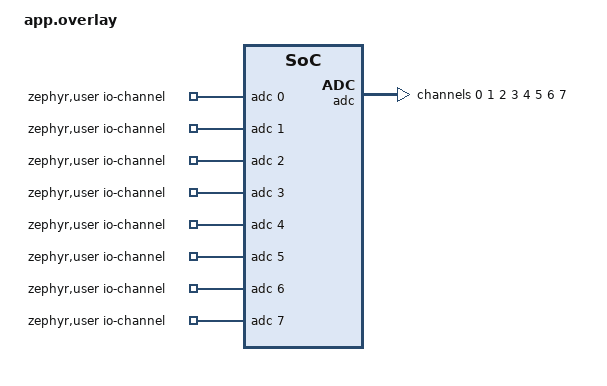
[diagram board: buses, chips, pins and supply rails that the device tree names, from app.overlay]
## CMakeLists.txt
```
# SPDX-License-Identifier: Apache-2.0

cmake_minimum_required(VERSION 3.20.0)

find_package(Zephyr REQUIRED HINTS $ENV{ZEPHYR_BASE})
project(pulse_oximeter)

target_sources(app PRIVATE src/main.c src/heart_rate.c src/i2c_device.c src/MAX30102.c src/spo2_algorithm.c)
```

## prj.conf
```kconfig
CONFIG_I2C=y
CONFIG_I2C_TARGET=y

CONFIG_CBPRINTF_FP_SUPPORT=y
```

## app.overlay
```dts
/ {
	zephyr,user {
		// List all channels for io-channels
		io-channels = <&adc 0>, <&adc 1>, <&adc 2>, <&adc 3>,
		              <&adc 4>, <&adc 5>, <&adc 6>, <&adc 7>;
	};
};

&adc {
	#address-cells = <1>;
	#size-cells = <0>;
	status = "okay";

	// Define ADC channels
	channel@0 {
		reg = <0>;
		zephyr,gain = "ADC_GAIN_1_6";
		zephyr,reference = "ADC_REF_INTERNAL";
		zephyr,acquisition-time = <ADC_ACQ_TIME_DEFAULT>;
		zephyr,input-positive = <NRF_SAADC_AIN0>; /* P0.02 */
		zephyr,resolution = <12>;
	};

	channel@1 {
		reg = <1>;
		zephyr,gain = "ADC_GAIN_1_6";
		zephyr,reference = "ADC_REF_INTERNAL";
		zephyr,acquisition-time = <ADC_ACQ_TIME_DEFAULT>;
		zephyr,input-positive = <NRF_SAADC_AIN1>; /* P0.03 */
		zephyr,resolution = <12>;
	};

	channel@2 {
		reg = <2>;
		zephyr,gain = "ADC_GAIN_1_6";
		zephyr,reference = "ADC_REF_INTERNAL";
		zephyr,acquisition-time = <ADC_ACQ_TIME_DEFAULT>;
		zephyr,input-positive = <NRF_SAADC_AIN2>; /* P0.04 */
		zephyr,resolution = <12>;
	};

	channel@3 {
		reg = <3>;
		zephyr,gain = "ADC_GAIN_1_6";
		zephyr,reference = "ADC_REF_INTERNAL";
		zephyr,acquisition-time = <ADC_ACQ_TIME_DEFAULT>;
		zephyr,input-positive = <NRF_SAADC_AIN3>; /* P0.05 */
		zephyr,resolution = <12>;
	};

	channel@4 {
		reg = <4>;
		zephyr,gain = "ADC_GAIN_1_6";
		zephyr,reference = "ADC_REF_INTERNAL";
		zephyr,acquisition-time = <ADC_ACQ_TIME_DEFAULT>;
		zephyr,input-positive = <NRF_SAADC_AIN4>; /* P0.28 */
		zephyr,resolution = <12>;
	};

	channel@5 {
		reg = <5>;
		zephyr,gain = "ADC_GAIN_1_6";
		zephyr,reference = "ADC_REF_INTERNAL";
		zephyr,acquisition-time = <ADC_ACQ_TIME_DEFAULT>;
		zephyr,input-positive = <NRF_SAADC_AIN5>; /* P0.29 */
		zephyr,resolution = <12>;
	};

	channel@6 {
		reg = <6>;
		zephyr,gain = "ADC_GAIN_1_6";
		zephyr,reference = "ADC_REF_INTERNAL";
		zephyr,acquisition-time = <ADC_ACQ_TIME_DEFAULT>;
		zephyr,input-positive = <NRF_SAADC_AIN6>; /* P0.30 */
		zephyr,resolution = <12>;
	};

	channel@7 {
		reg = <7>;
		zephyr,gain = "ADC_GAIN_1_6";
		zephyr,reference = "ADC_REF_INTERNAL";
		zephyr,acquisition-time = <ADC_ACQ_TIME_DEFAULT>;
		zephyr,input-positive = <NRF_SAADC_AIN7>; /* P0.31 */
		zephyr,resolution = <12>;
	};
};
```

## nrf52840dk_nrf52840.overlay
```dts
// To get started, press Ctrl+Space to bring up the completion menu and view the available nodes.

// You can also use the buttons in the sidebar to perform actions on nodes.
// Actions currently available include:

// * Enabling / disabling the node
// * Adding the bus to a bus
// * Removing the node
// * Connecting ADC channels

// For more help, browse the DeviceTree documentation at https://docs.zephyrproject.org/latest/guides/dts/index.html
// You can also visit the nRF DeviceTree extension documentation at https://docs.nordicsemi.com/bundle/nrf-connect-vscode/page/guides/ncs_configure_app.html#devicetree-support-in-the-extension

/ {
    aliases {
        i2c0 = &i2c0;
    };
};

&i2c0 {
    compatible = "nordic,nrf-twim";
    status = "okay";
    clock-frequency = <I2C_BITRATE_STANDARD>;

    max30102: max30102@57 {
        compatible = "i2c-device";
        reg = <0x57>;
        label = "MAX30102";
    };
};

&i2c1 {
    status = "okay";
};
```

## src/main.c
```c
/*
 * Copyright (c) 2024 Open Pixel Systems
 *
 * SPDX-License-Identifier: Apache-2.0
 */

// TODO: turn the max30102 driver into a separate header file and include it here
// TODO: create a skeleton i2c header file and make the max30102 driver inherit from it

#include <zephyr/kernel.h>
#include <zephyr/sys/printk.h>
#include <zephyr/drivers/i2c.h>
#include <zephyr/drivers/gpio.h>

#include "i2c_device.h"
#include "MAX30102.h"
#include "heart_rate.h"

static const struct i2c_dt_spec dev_max30102 = MAX30102_DT_SPEC;
static const struct gpio_dt_spec led0 = LED0_DT_SPEC;

// static char last_byte;

// #define DATA_BUFFER_SIZE 32
// typedef struct buffer {
// 	uint32_t red[DATA_BUFFER_SIZE];
// 	uint32_t ir[DATA_BUFFER_SIZE];
// 	uint8_t head_ptr;
// 	uint8_t tail_ptr;
// } sensor_struct;

// sensor_struct sensor_data;

// /*
//  * @brief Callback which is called when a write request is received from the master.
//  * @param config Pointer to the target configuration.
//  */
// int sample_target_write_requested_cb(struct i2c_target_config *config)
// {
// 	printk("sample target write requested\n");
// 	return 0;
// }

// /*
//  * @brief Callback which is called when a write is received from the master.
//  * @param config Pointer to the target configuration.
//  * @param val The byte received from the master.
//  */
// int sample_target_write_received_cb(struct i2c_target_config *config, uint8_t val)
// {
// 	printk("sample target write received: 0x%02x\n", val);
// 	last_byte = val;
// 	return 0;
// }

// /*
//  * @brief Callback which is called when a read request is received from the master.
//  * @param config Pointer to the target configuration.
//  * @param val Pointer to the byte to be sent to the master.
//  */
// int sample_target_read_requested_cb(struct i2c_target_config *config, uint8_t *val)
// {
// 	printk("sample target read request: 0x%02x\n", *val);
// 	*val = 0x42;
// 	return 0;
// }

// /*
//  * @brief Callback which is called when a read is processed from the master.
//  * @param config Pointer to the target configuration.
//  * @param val Pointer to the next byte to be sent to the master.
//  */
// int sample_target_read_processed_cb(struct i2c_target_config *config, uint8_t *val)
// {
// 	printk("sample target read processed: 0x%02x\n", *val);
// 	*val = 0x43;
// 	return 0;
// }

// /*
//  * @brief Callback which is called when the master sends a stop condition.
//  * @param config Pointer to the target configuration.
//  */
// int sample_target_stop_cb(struct i2c_target_config *config)
// {
// 	printk("sample target stop callback\n");
// 	return 0;
// }

// static struct i2c_target_callbacks sample_target_callbacks = {
// 	.write_requested = sample_target_write_requested_cb,
// 	.write_received = sample_target_write_received_cb,
// 	.read_requested = sample_target_read_requested_cb,
// 	.read_processed = sample_target_read_processed_cb,
// 	.stop = sample_target_stop_cb,
// };

// int write_byte(uint8_t address, uint8_t data)
// {
// 	int ret;
// 	ret = i2c_reg_write_byte_dt(&dev_i2c0, address, data);
// 	if (ret < 0) {
// 		printk("Failed to write byte %x to register %x\n", data, address);
// 		return -1;
// 	} else {
// 		printk("Wrote byte %2x to register %2x\n", data, address);
// 		return 0;
// 	}
// }

// int read_register(const struct i2c_dt_spec *i2c_dev, uint8_t reg_addr, uint8_t *data) {
// 	int ret = i2c_write_read_dt(i2c_dev, &reg_addr, 1, data, 1);
// 	if (ret < 0) {
// 		printk("Failed to read register %x\n", reg_addr);
// 		return -1;
// 	} else {
// 		printk("Read register %x\n", reg_addr);
// 		return 0;
// 	}
// }

// // Function to read multiple bytes from sequential registers
// int read_registers(const struct i2c_dt_spec *i2c_dev, uint8_t reg_addr, uint8_t *data, size_t len) {
//     int ret = i2c_write_read_dt(i2c_dev, &reg_addr, 1, data, len);
// 	if (ret < 0) {
// 		printk("Failed to read %d registers starting from %x\n", len, reg_addr);
// 		return -1;
// 	} else {
// 		//printk("Read %d registers starting from %x\n", len, reg_addr);
// 		return 0;
// 	}
// }

// typedef enum{
// 	HEART_RATE = 2,
// 	SPO2 = 3,
// 	MULTI_LED = 7
// } MAX30102_mode_t;

// /*
// 	 * @brief Setup the pulse oximeter
// 	 * @param sample_avg The number of samples to average. Must be a multiple of 2 between 1 and 32 - default 4
// 	 * @param fifo_rollover Whether the FIFO should rollover. Must be true or false - default true
// 	 * @param fifo_int_threshold The FIFO interrupt threshold. Must be between 0 and 15 - default 4
// 	 * @param mode The mode of the pulse oximeter. Must be one of HEART_RATE, SPO2, or MULTI_LED - default MULTI_LED
// 	 * @param sample_rate The sample rate of the ADC. Must be one of 50, 100, 200, 400, 800, 1000, 1600, 3200 - default 50
// 	 * @param pulse_width The pulse width of the LED. Must be one of 69, 118, 215, 411 - default 69
// 	 * @param adc_range The range of the ADC. Must be one of 2048, 4096, 8192, 16384 - default 16384
//  */
// void pulse_oximeter_setup(uint8_t sample_avg, bool fifo_rollover, uint8_t fifo_int_threshold, MAX30102_mode_t mode, int sample_rate, int pulse_width, int adc_range)
// {
// 	// TODO: add support for parameters
// 	uint8_t address, data;
// 	if (!i2c_is_ready_dt(&dev_i2c0)) {
// 		printk("I2C bus is not ready\n");
// 	}

// 	// reset the device
// 	if (write_byte(0x09, 0x40) < 0) {
// 		printk("Failed to reset device\n");
// 		exit(-1);
// 	}

// 	// switch(sample_avg){
// 	// 	case 1:
// 	// 		data = 0x00; // 000_x_0000
// 	// 		break;
// 	// }

// 	// // sample avg = 4, rollover disabled, almost full = 17 // 010_0_1111
// 	address = 0x08;
// 	data = 0x0F; // 010_0_1111
// 	write_byte(address, data);

// 	//mode = multi led // 0_0_xxx_111
// 	//mode = sp02 // 0_0_xxx_011
// 	address = 0x09;
// 	data = 0x03; 
// 	write_byte(address, data);

// 	//adc range = 16384, sample rate = 50, pulse width = 69 // x11_000_00
// 	//SP02 ADC = 4096, sample rate = 100, pulse width = 411 // x01_001_11
// 	address = 0x0A;
// 	data = 0x27; 
// 	write_byte(address, data);
	
// 	// set power level to 6.2mA (0x1F)
// 	address = 0x0C;
// 	data = 0x1F;
// 	write_byte(address, data);

// 	address = 0x0D;
// 	data = 0x1F;
// 	write_byte(address, data);

// 	// // multi_led control registers
// 	// address = 0x11; 
// 	// data = 0x07; // x_001_x_010 (RED and IR LED)
// 	// write_byte(address, data);

// 	// address = 0x12;
// 	// data = 0x07; // x_000_x_000 (NO LED)
// 	// write_byte(address, data);

// 	// clear fifo
// 	write_byte(0x04, 0x00);
// 	write_byte(0x05, 0x00);
// 	write_byte(0x06, 0x00);

// }

// int get_data(void)
// {
// 	// uint8_t read_ptr, write_ptr, ovf_ctr;
// 	// read_register(&dev_i2c0, 0x04, &read_ptr);
// 	// read_register(&dev_i2c0, 0x05, &ovf_ctr);
// 	// read_register(&dev_i2c0, 0x06, &write_ptr);

// 	// if (read_ptr == write_ptr) {
// 	// 	printk("FIFO is empty\n");
// 	// 	printk("Read pointer: %d, Write pointer: %d, Overflow counter: %d\n", read_ptr, write_ptr, ovf_ctr);
// 	// 	return 0;
// 	// } else {
// 	// 	printk("FIFO is not empty\n");
// 	// 	printk("Read pointer: %d, Write pointer: %d, Overflow counter: %d\n", read_ptr, write_ptr, ovf_ctr);
// 	// 	int num_samples_to_read = (write_ptr - read_ptr) & 0x1F; // mask to get the lower 5 bits of the difference

// 	// 	// know the number of samples we need to read
// 	// 	int num_bytes_to_read = num_samples_to_read * 6; // 3 bytes for red and 3 bytes for ir for each sample

// 	// 	// prepare to read data from the fifo buffer address many times


// 	// 	uint8_t data[num_bytes_to_read];
// 	// 	read_registers(&dev_i2c0, 0x07, data, num_bytes_to_read);

// 	// 	for (int i = 0; i < num_bytes_to_read; i += 6) {
// 	// 		sensor_data.head_ptr ++;
// 	// 		sensor_data.head_ptr %= DATA_BUFFER_SIZE;
			
// 	// 		sensor_data.red[sensor_data.head_ptr] = ((data[i] << 16) | (data[i + 1] << 8) | data[i + 2]) & 0x3FFFF;
// 	// 		sensor_data.ir[sensor_data.head_ptr] = ((data[i + 3] << 16) | (data[i + 4] << 8) | data[i + 5]) & 0x3FFFF;
// 	// 	}
// 	// 	return num_samples_to_read;
// 	// }

// 	uint8_t data[6];
// 	int ret = read_registers(&dev_i2c0, 0x07, data, 6);
// 	if (ret == 0){
// 		sensor_data.head_ptr ++;
// 		sensor_data.head_ptr %= DATA_BUFFER_SIZE;	
// 		sensor_data.red[sensor_data.head_ptr] = ((data[0] << 16) | (data[1] << 8) | data[2]) & 0x3FFFF;
// 		sensor_data.ir[sensor_data.head_ptr] = ((data[3] << 16) | (data[4] << 8) | data[5]) & 0x3FFFF;
// 	}
// 	return 6;
// }

int main(void)
{
	// struct i2c_target_config target_cfg = {
	// 	.address = 0x60,
	// 	.callbacks = &sample_target_callbacks,
	// };

	printk("i2c custom target sample\n");

	max30102_default_setup(&dev_max30102);

	max30102_read_data_hr(&dev_max30102);

	//max30102_read_data_spo2(&dev_max30102, &led0);

	// const uint8_t RATE_SIZE = 4; //Increase this for more averaging. 4 is good.
	// uint8_t rates[RATE_SIZE]; //Array of heart rates
	// uint8_t rateSpot = 0;
	// long lastBeat = 0; //Time at which the last beat occurred

	// float beatsPerMinute;
	// int beatAvg;

	// while(true){
	// 	if (get_k("No data\n");
	// 	} else {
	// 		long irVal = sensor_data.ir[sensor_data.head_ptr];

	// 		if (checkForBeat(irVal) == true) {
    // 			//We sensed a beat!
    // 			long delta = k_uptime_get() - lastBeat;
    // 			lastBeat = k_uptime_get();
			
    // 			beatsPerMinute = 60 / (delta / 1000.0);
			
    // 			if (beatsPerMinute < 255 && beatsPerMinute > 20) {
    // 			  rates[rateSpot++] = (uint8_t)beatsPerMinute; //Store this reading in the array
    // 			  rateSpot %= RATE_SIZE; //Wrap variable
			
    // 			  //Take average of readings
    // 			  beatAvg = 0;
    // 			  for (uint8_t x = 0 ; x < RATE_SIZE ; x++)
    // 			    beatAvg += rates[x];
    // 			  beatAvg /= RATE_SIZE;
    // 			}
  	// 		}

	// 		printk(">Red:%d,IR:%d,BPM:%f,AvgBPM:%f\n", sensor_data.red[sensor_data.head_ptr], sensor_data.ir[sensor_data.head_ptr], beatsPerMinute, beatAvg);
	// 	}
	// 	k_sleep(K_MSEC(10));
	// }data() == 0){
	// 		print

	return 0;
}
```

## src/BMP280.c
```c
#include <zephyr/device.h>
#include <zephyr/drivers/i2c.h>
#include <zephyr/sys/printk.h>
#include <zephyr/kernel.h>
#include <stdint.h>

// HOW TO CONNECT: (BMP --> Nordic)
// SCK --> Pin 27
// SDI --> Pin 26
// SDO --> GND (for I2C Address 0x76)    *VDO --> VDD (makes I2C address 0x77)*
// CS --> VDD
// 3Vo --> VDD
// GND --> GND


#define I2C_NODE DT_NODELABEL(i2c0)
#define BMP280_ADDR 0x76  // Adjust to 0x77 if SDO pin is high

// BMP280 Register Addresses
#define BMP280_REG_CALIB_START    0x88
#define BMP280_REG_CHIPID         0xD0
#define BMP280_REG_SOFTRESET      0xE0
#define BMP280_REG_CONTROL        0xF4
#define BMP280_REG_CONFIG         0xF5
#define BMP280_REG_PRESSURE_MSB   0xF7
#define BMP280_REG_TEMPERATURE_MSB 0xFA

// Calibration parameters
uint16_t dig_T1;
int16_t dig_T2, dig_T3;
uint16_t dig_P1;
int16_t dig_P2, dig_P3, dig_P4, dig_P5, dig_P6, dig_P7, dig_P8, dig_P9;
int32_t t_fine;

// Function to write a byte to a register
int write_register_BMP(const struct device *i2c_dev, uint8_t dev_addr, uint8_t reg_addr, uint8_t data) {
    uint8_t buffer[2] = {reg_addr, data};
    return i2c_write(i2c_dev, buffer, sizeof(buffer), dev_addr);
}

// Function to read multiple bytes from sequential registers
int read_registers_BMP(const struct device *i2c_dev, uint8_t dev_addr, uint8_t reg_addr, uint8_t *data, size_t len) {
    return i2c_write_read(i2c_dev, dev_addr, &reg_addr, 1, data, len);
}

// Initialize BMP280
void bmp280_init(const struct device *i2c_dev) {
    uint8_t chip_id;

    // Read Chip ID
    if (read_registers_BMP(i2c_dev, BMP280_ADDR, BMP280_REG_CHIPID, &chip_id, 1) != 0 || chip_id != 0x58) {
        printk("Error: BMP280 not detected or invalid Chip ID\n");
        return;
    }
    printk("BMP280 detected. Chip ID: 0x%x\n", chip_id);

    // Reset the sensor
    write_register_BMP(i2c_dev, BMP280_ADDR, BMP280_REG_SOFTRESET, 0xB6);
    k_sleep(K_MSEC(100));  // Allow time for reset

    // Read calibration data
    uint8_t calib_data[24];
    if (read_registers_BMP(i2c_dev, BMP280_ADDR, BMP280_REG_CALIB_START, calib_data, sizeof(calib_data)) != 0) {
        printk("Error: Failed to read calibration data\n");
        return;
    }

    // Parse calibration data
    dig_T1 = (calib_data[1] << 8) | calib_data[0];
    dig_T2 = (calib_data[3] << 8) | calib_data[2];
    dig_T3 = (calib_data[5] << 8) | calib_data[4];
    dig_P1 = (calib_data[7] << 8) | calib_data[6];
    dig_P2 = (calib_data[9] << 8) | calib_data[8];
    dig_P3 = (calib_data[11] << 8) | calib_data[10];
    dig_P4 = (calib_data[13] << 8) | calib_data[12];
    dig_P5 = (calib_data[15] << 8) | calib_data[14];
    dig_P6 = (calib_data[17] << 8) | calib_data[16];
    dig_P7 = (calib_data[19] << 8) | calib_data[18];
    dig_P8 = (calib_data[21] << 8) | calib_data[20];
    dig_P9 = (calib_data[23] << 8) | calib_data[22];

    // Configure sensor: normal mode, oversampling x1 for temp & pressure
    uint8_t ctrl_meas = (0x01 << 5) | (0x01 << 2) | 0x03;
    write_register_BMP(i2c_dev, BMP280_ADDR, BMP280_REG_CONTROL, ctrl_meas);
    write_register_BMP(i2c_dev, BMP280_ADDR, BMP280_REG_CONFIG, 0);  // Default config
}

// Read and process BMP280 data
void read_bmp280_data(const struct device *i2c_dev) {
    uint8_t data[6];

    if (read_registers_BMP(i2c_dev, BMP280_ADDR, BMP280_REG_PRESSURE_MSB, data, sizeof(data)) != 0) {
        printk("Error: Failed to read BMP280 data\n");
        return;
    }

    int32_t adc_T = (data[3] << 12) | (data[4] << 4) | (data[5] >> 4);
    int32_t adc_P = (data[0] << 12) | (data[1] << 4) | (data[2] >> 4);

    // Temperature compensation
    int32_t var1 = ((((adc_T >> 3) - ((int32_t)dig_T1 << 1))) * ((int32_t)dig_T2)) >> 11;
    int32_t var2 = (((((adc_T >> 4) - ((int32_t)dig_T1)) * ((adc_T >> 4) - ((int32_t)dig_T1))) >> 12) * ((int32_t)dig_T3)) >> 14;
    t_fine = var1 + var2;
    float celsius = ((t_fine * 5 + 128) >> 8) / 100.0f;
    float fahrenheit =(celsius *  1.8) + 32.0;

    // Pressure compensation
    int64_t var1_p = ((int64_t)t_fine) - 128000;
    int64_t var2_p = var1_p * var1_p * (int64_t)dig_P6 + ((var1_p * (int64_t)dig_P5) << 17) + (((int64_t)dig_P4) << 35);
    var1_p = (((var1_p * var1_p * (int64_t)dig_P3) >> 8) + ((var1_p * (int64_t)dig_P2) << 12));
    var1_p = ((((int64_t)1 << 47) + var1_p) * (int64_t)dig_P1) >> 33;

    if (var1_p == 0) {
        printk("Error: Division by zero in pressure calculation\n");
        return;
    }

    int64_t p = ((((int64_t)1048576 - adc_P) << 31) - var2_p) * 3125 / var1_p;
    var1_p = (((int64_t)dig_P9) * (p >> 13) * (p >> 13)) >> 25;
    var2_p = (((int64_t)dig_P8) * p) >> 19;
    p = ((p + var1_p + var2_p) >> 8) + (((int64_t)dig_P7) << 4);

    float pressure = p / 25600.0f;  // Convert to hPa

    printk("Temperature: %.2f °C / %.2f °F, Pressure: %.2f hPa\n", celsius, fahrenheit, pressure);
}
```

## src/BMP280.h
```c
#ifndef BMP280_H
#define BMP280_H

#include <zephyr/device.h>
#include <zephyr/drivers/i2c.h>
#include <zephyr/sys/printk.h>
#include <zephyr/kernel.h>
#include <stdint.h>

// I2C device node label and LSM9DS1 I2C address
#define I2C_NODE DT_NODELABEL(i2c0)
#define BMP280_ADDR 0x76  // Change to 0x77 if SDO pin is high

// BMP280 Register Addresses
#define BMP280_REG_CALIB_START    0x88
#define BMP280_REG_CHIPID         0xD0
#define BMP280_REG_SOFTRESET      0xE0
#define BMP280_REG_STATUS         0xF3
#define BMP280_REG_CONTROL        0xF4
#define BMP280_REG_CONFIG         0xF5
#define BMP280_REG_PRESSURE_MSB   0xF7
#define BMP280_REG_TEMPERATURE_MSB 0xFA

// Function prototypes
int write_register_BMP(const struct device *i2c_dev, uint8_t dev_addr, uint8_t reg_addr, uint8_t data);
int read_register_BMP(const struct device *i2c_dev, uint8_t dev_addr, uint8_t reg_addr, uint8_t *data);
int read_registers_BMP(const struct device *i2c_dev, uint8_t dev_addr, uint8_t reg_addr, uint8_t *data, size_t len);
void bmp280_init(const struct device *i2c_dev);
void read_bmp280_data(const struct device *i2c_dev);

#endif
```

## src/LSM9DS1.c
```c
#include <zephyr/device.h>
#include <zephyr/drivers/i2c.h>
#include <zephyr/sys/printk.h>

// HOW TO CONNECT: (LSM9DS1 --> Nordic)
// VIN --> VDD
// GND --> GND
// SCL --> Pin 27
// SDA --> Pin 26
// SDOAG --> unconnected
// SDOM --> unconnected
// CS_G --> VDD
// CS_M --> VDD



#define I2C_NODE DT_NODELABEL(i2c0)
#define LSM9DS1_AG_ADDR 0x6B // I2C address of the LSM9DS1 Accelerometer/Gyroscope (becomes 0x6A if connected to VDD)
#define LSM9DS1_M_ADDR  0x1E // I2C address of the magnetometer (becomes 0x1C if connected to VDD)

#define WHO_AM_I_REG 0x0F // WHO_AM_I register address
#define CTRL_REG1_G  0x10 // Gyro control register 1
#define CTRL_REG6_XL 0x20 // Accelerometer control register 6

#define OUT_X_L_G  0x18 // Gyro X-axis output low byte
#define OUT_X_L_XL 0x28 // Accelerometer X-axis output low byte
#define OUT_X_L_M  0x28 // Magnetometer X-axis output low byte

#define CTRL_REG1_M 0x20
#define CTRL_REG2_M 0x21
#define CTRL_REG3_M 0x22
#define CTRL_REG4_M 0x23
#define CTRL_REG5_M 0x24

// Sensitivity (from LSM9DS1 datasheet):
// Assuming configured scales: ±8g for accelerometer, ±2000 dps for gyroscope, ±4 gauss for magnetometer.

// Accelerometer ±8g: 0.244 mg/LSB = 0.000244 g/LSB
#define ACCEL_SENSITIVITY_G 0.000244f 

// Gyroscope ±2000 dps: 70 mdps/LSB = 0.07 dps/LSB
#define GYRO_SENSITIVITY_DPS 0.07f

// Magnetometer ±4 gauss: ~0.14 mGauss/LSB = 0.00014 Gauss/LSB
#define MAG_SENSITIVITY_GAUSS 0.00014f


// Function to write a byte to a register
int write_register_LSM(const struct device *i2c_dev, uint8_t dev_addr, uint8_t reg_addr, uint8_t data) {
    uint8_t buffer[2] = {reg_addr, data};
    return i2c_write(i2c_dev, buffer, sizeof(buffer), dev_addr);
}

// Function to read a byte from a register
int read_register_LSM(const struct device *i2c_dev, uint8_t dev_addr, uint8_t reg_addr, uint8_t *data) {
    return i2c_write_read(i2c_dev, dev_addr, &reg_addr, 1, data, 1);
}

// Function to read multiple bytes from sequential registers
int read_registers_LSM(const struct device *i2c_dev, uint8_t dev_addr, uint8_t reg_addr, uint8_t *data, size_t len) {
    reg_addr |= 0x80; // Set MSB to enable auto-increment
    return i2c_write_read(i2c_dev, dev_addr, &reg_addr, 1, data, len);
}

// Initialize LSM9DS1 settings
void lsm9ds1_init(const struct device *i2c_dev) {
    uint8_t who_am_i_ag, who_am_i_m;

    // Initialize accelerometer/gyroscope (AG)
    if (read_register_LSM(i2c_dev, LSM9DS1_AG_ADDR, WHO_AM_I_REG, &who_am_i_ag) != 0 || who_am_i_ag != 0x68) {
        printk("LSM9DS1 accelerometer/gyroscope not detected\n");
    } else {
        printk("LSM9DS1 accelerometer/gyroscope detected\n");
        // Set up gyroscope: ODR=952 Hz (110), FS=±2000 dps (11)
        // CTRL_REG1_G bits: ODR_G[7:5]=110, FS_G[4:3]=11, rest=0
        // (0x6 << 5) = 0xC0, (0x3 << 3)=0x18 => 0xC0|0x18=0xD8
        write_register_LSM(i2c_dev, LSM9DS1_AG_ADDR, CTRL_REG1_G, 0xD8);

        // Set up accelerometer: ODR=952 Hz (110), FS=±8g (10)
        // CTRL_REG6_XL bits: ODR_XL[7:5]=110, FS_XL[4:3]=10 => 0xC0|0x10=0xD0
        write_register_LSM(i2c_dev, LSM9DS1_AG_ADDR, CTRL_REG6_XL, 0xD0);
    }

    // Initialize magnetometer (M)
    if (read_register_LSM(i2c_dev, LSM9DS1_M_ADDR, WHO_AM_I_REG, &who_am_i_m) != 0 || who_am_i_m != 0x3D) {
        printk("LSM9DS1 magnetometer not detected\n");
    } else {
        printk("LSM9DS1 magnetometer detected\n");
        // Example configuration for magnetometer:
        // CTRL_REG1_M (0x70): OM=11 (high-perf XY), DO=100 (10Hz), TEMP_COMP=0
        write_register_LSM(i2c_dev, LSM9DS1_M_ADDR, CTRL_REG1_M, 0x70);
        // CTRL_REG2_M: FS=00 (±4 gauss)
        write_register_LSM(i2c_dev, LSM9DS1_M_ADDR, CTRL_REG2_M, 0x00);
        // CTRL_REG3_M: Continuous-conversion mode (0x00)
        write_register_LSM(i2c_dev, LSM9DS1_M_ADDR, CTRL_REG3_M, 0x00);
        // CTRL_REG4_M: OMZ=11 high-performance on Z
        write_register_LSM(i2c_dev, LSM9DS1_M_ADDR, CTRL_REG4_M, 0x0C);
        // CTRL_REG5_M: Default (0x00) no soft iron correction, no BDU
        write_register_LSM(i2c_dev, LSM9DS1_M_ADDR, CTRL_REG5_M, 0x00);
    }

    // Allow some time after configuration
    k_msleep(100);
}

// Function to read and print LSM9DS1 data
void read_lsm9ds1_data(const struct device *i2c_dev) {
    int16_t accel_x, accel_y, accel_z;
    int16_t gyro_x, gyro_y, gyro_z;
    int16_t mag_x, mag_y, mag_z;
    uint8_t data[6];

    // Read accelerometer data
    if (read_registers_LSM(i2c_dev, LSM9DS1_AG_ADDR, OUT_X_L_XL, data, 6) == 0) {
        accel_x = (int16_t)((data[1] << 8) | data[0]);
        accel_y = (int16_t)((data[3] << 8) | data[2]);
        accel_z = (int16_t)((data[5] << 8) | data[4]);

        float accel_x_g = accel_x * ACCEL_SENSITIVITY_G;
        float accel_y_g = accel_y * ACCEL_SENSITIVITY_G;
        float accel_z_g = accel_z * ACCEL_SENSITIVITY_G;

        printk("Accelerometer (raw): X=%d, Y=%d, Z=%d\n", accel_x, accel_y, accel_z);
        printk("Accelerometer (g): X=%.3f, Y=%.3f, Z=%.3f\n", accel_x_g, accel_y_g, accel_z_g);
    } else {
        printk("Failed to read accelerometer data\n");
    }

    // Read gyroscope data
    if (read_registers_LSM(i2c_dev, LSM9DS1_AG_ADDR, OUT_X_L_G, data, 6) == 0) {
        gyro_x = (int16_t)((data[1] << 8) | data[0]);
        gyro_y = (int16_t)((data[3] << 8) | data[2]);
        gyro_z = (int16_t)((data[5] << 8) | data[4]);

        float gyro_x_dps = gyro_x * GYRO_SENSITIVITY_DPS;
        float gyro_y_dps = gyro_y * GYRO_SENSITIVITY_DPS;
        float gyro_z_dps = gyro_z * GYRO_SENSITIVITY_DPS;

        printk("Gyroscope (raw): X=%d, Y=%d, Z=%d\n", gyro_x, gyro_y, gyro_z);
        printk("Gyroscope (dps): X=%.2f, Y=%.2f, Z=%.2f\n", gyro_x_dps, gyro_y_dps, gyro_z_dps);
    } else {
        printk("Failed to read gyroscope data\n");
    }

    // Read magnetometer data
    if (read_registers_LSM(i2c_dev, LSM9DS1_M_ADDR, OUT_X_L_M, data, 6) == 0) {
        mag_x = (int16_t)((data[1] << 8) | data[0]);
        mag_y = (int16_t)((data[3] << 8) | data[2]);
        mag_z = (int16_t)((data[5] << 8) | data[4]);

        float mag_x_gauss = mag_x * MAG_SENSITIVITY_GAUSS;
        float mag_y_gauss = mag_y * MAG_SENSITIVITY_GAUSS;
        float mag_z_gauss = mag_z * MAG_SENSITIVITY_GAUSS;

        printk("Magnetometer (raw): X=%d, Y=%d, Z=%d\n", mag_x, mag_y, mag_z);
        printk("Magnetometer (G): X=%.4f, Y=%.4f, Z=%.4f\n", mag_x_gauss, mag_y_gauss, mag_z_gauss);
    } else {
        printk("Failed to read magnetometer data\n");
    }
}
```

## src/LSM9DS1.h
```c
#ifndef LSM9DS1_H
#define LSM9DS1_H

#include <zephyr/device.h>
#include <stdint.h>

// I2C device node label and LSM9DS1 I2C address
#define I2C_NODE DT_NODELABEL(i2c0)
#define LSM9DS1_ADDR 0x6B // I2C address of the LSM9DS1 Accelerometer/Gyroscope

// Register addresses
#define WHO_AM_I_REG 0x0F // WHO_AM_I register address
#define CTRL_REG1_G  0x10 // Gyro control register 1

#define OUT_X_L_G  0x18 // Gyro X-axis output low byte
#define OUT_X_L_XL 0x28 // Accelerometer X-axis output low byte
#define OUT_X_L_M  0x28 // Magnetometer X-axis output low byte

// Function prototypes
int write_register_LSM(const struct device *i2c_dev, uint8_t dev_addr, uint8_t reg_addr, uint8_t data);
int read_register_LSM(const struct device *i2c_dev, uint8_t dev_addr, uint8_t reg_addr, uint8_t *data);
int read_registers_LSM(const struct device *i2c_dev, uint8_t dev_addr, uint8_t reg_addr, uint8_t *data, size_t len);
void lsm9ds1_init(const struct device *i2c_dev);
void read_lsm9ds1_data(const struct device *i2c_dev);

#endif // LSM9DS1_H
```

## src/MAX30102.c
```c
/*
    * MAX30102.h
    *
    *  Created on: 2020. 12. 10.
    * 
    * This file was created to interface with the MAX30102 pulse oximeter sensor
    * It uses algorithms developed by Nathan Seidle of Sparkfun Electronics as 
    * adapted in `heart_rate.c/h` and `spo2_algorithm.c/h`.
    * 
    * TODO: need to clean this up and add more functionality
*/

#include "MAX30102.h"
#include "i2c_device.h"
#include "heart_rate.h"
#include "spo2_algorithm.h"

static const uint8_t MAX30102_FIFO_CONFIG        = 0x08;
static const uint8_t MAX30102_MODE_CONFIG        = 0x09;
static const uint8_t MAX30102_SPO2_CONFIG        = 0x0A;
static const uint8_t MAX30102_LED1_PA            = 0x0C;
static const uint8_t MAX30102_LED2_PA            = 0x0D;
static const uint8_t MAX30102_MULTI_LED_CONFIG1  = 0x11;
static const uint8_t MAX30102_MULTI_LED_CONFIG2  = 0x12;

static const uint8_t MAX30102_FIFO_WR_PTR        = 0x04;
static const uint8_t MAX30102_FIFO_O_CNTR        = 0x05;
static const uint8_t MAX30102_FIFO_RD_PTR        = 0x06;
static const uint8_t MAX30102_FIFO_DATA          = 0x07;

//static const struct i2c_dt_spec max30102_dev = MAX30102_DT_SPEC;
static sensor_struct sensor_data;

void max30102_default_setup(const struct i2c_dt_spec *dev_max30102)
{
    max30102_pulse_oximeter_setup(dev_max30102, 1, false, 15, SPO2, 100, 441, 4096);
}

/*
 * @brief Setup the pulse oximeter
 * @param sample_avg The number of samples to average. Must be a multiple of 2 between 1 and 32 - default 4
 * @param fifo_rollover Whether the FIFO should rollover. Must be true or false - default true
 * @param fifo_int_threshold The FIFO interrupt threshold. Must be between 0 and 15 - default 4
 * @param mode The mode of the pulse oximeter. Must be one of HEART_RATE, SPO2, or MULTI_LED - default MULTI_LED
 * @param sample_rate The sample rate of the ADC. Must be one of 50, 100, 200, 400, 800, 1000, 1600, 3200 - default 50
 * @param pulse_width The pulse width of the LED. Must be one of 69, 118, 215, 411 - default 69
 * @param adc_range The range of the ADC. Must be one of 2048, 4096, 8192, 16384 - default 16384
 */
void max30102_pulse_oximeter_setup(const struct i2c_dt_spec *dev_max30102, uint8_t sample_avg, bool fifo_rollover, 
		uint8_t fifo_int_threshold, MAX30102_mode_t mode, int sample_rate, int pulse_width, int adc_range)
{
    uint8_t address, data;

    // check i2c_device is ready
    if (!d_i2c_is_ready(dev_max30102)) {
        return;
    }

    // reset the device
    address = MAX30102_MODE_CONFIG;
    data = 0x40; // x_1_xxx_xxx
    if (d_i2c_write_to_reg(dev_max30102, address, data) == false) {
		printk("Failed to reset device\n");
		return;
	}

	// set the sample average (SMP_AVE) and FIFO rollover (FIFO_ROLLOVER_EN) and FIFO interrupt threshold (FIFO_A_FULL)
	address = MAX30102_FIFO_CONFIG;
	data = 0x00;
    switch(sample_avg){
		case 1:
			data |= 0x00; // 000_x_xxxx
			break;
		case 2:
			data |= 0x20; // 001_x_xxxx
			break;
		case 4:
			data |= 0x40; // 010_x_xxxx
			break;
		case 8:
			data |= 0x60; // 011_x_xxxx
			break;
		case 16:
			data |= 0x80; // 100_x_xxxx
			break;
		case 32:
			data |= 0xA0; // 101_x_xxxx
			break;
		default:
			data |= 0x40; // 010_x_xxxx
			break;
	}
	switch(fifo_rollover){
		case true:
			data |= 0x10; // xxx_1_xxxx
			break;
		case false:
			data |= 0x00; // xxx_0_xxxx
			break;
	}
	data |= (fifo_int_threshold & 0x0F); // xxx_x_DDDD
	d_i2c_write_to_reg(dev_max30102, address, data);

	//mode = heart rate // 0_0_xxx_010
	//mode = multi led // 0_0_xxx_111
	//mode = sp02 // 0_0_xxx_011
	address = MAX30102_MODE_CONFIG;
	data = mode & 0x07; // 0_0_000_111 
	d_i2c_write_to_reg(dev_max30102, address, data);

	//adc range = 16384, sample rate = 50, pulse width = 69 // x11_000_00
	//SP02 ADC = 4096, sample rate = 100, pulse width = 411 // x01_001_11

	address = MAX30102_SPO2_CONFIG;
	data = 0x00;
	switch(adc_range){
		case 2048:
			data |= 0x00; // x_00_xxx_xx
			break;
		case 4096:
			data |= 0x20; // x_01_xxx_xx
			break;
		case 8192:
			data |= 0x40; // x_10_xxx_xx
			break;
		case 16384:
			data |= 0x60; // x_11_xxx_xx
			break;
		default:
			data |= 0x60; // x_11_xxx_xx
			break;
	}

	switch(sample_rate){
		case 50:
			data |= 0x00; // x_xx_000_xx
			break;
		case 100:
			data |= 0x04; // x_xx_001_xx
			break;
		case 200:
			data |= 0x08; // x_xx_010_xx
			break;
		case 400:
			data |= 0x0C; // x_xx_011_xx
			break;
		case 800:
			data |= 0x10; // x_xx_100_xx
			break;
		case 1000:
			data |= 0x14; // x_xx_101_xx
			break;
		case 1600:
			data |= 0x18; // x_xx_110_xx
			break;
		case 3200:
			data |= 0x1C; // x_xx_111_xx
			break;
		default:
			data |= 0x00; // x_xx_000_xx
			break;
	}
	switch(pulse_width){
		case 69:
			data |= 0x00; // x_xx_xxx_00
			break;
		case 118:
			data |= 0x01; // x_xx_xxx_01
			break;
		case 215:
			data |= 0x02; // x_xx_xxx_10
			break;
		case 411:
			data |= 0x03; // x_xx_xxx_11
			break;
		default:
			data |= 0x00; // x_xx_xxx_00
			break;

	}
	d_i2c_write_to_reg(dev_max30102, address, data);
	
	// set power level to 6.2mA (0x1F)
	address = MAX30102_LED1_PA;
	data = 0x1F;
	d_i2c_write_to_reg(dev_max30102, address, data);

	address = MAX30102_LED2_PA;
	data = 0x1F;
	d_i2c_write_to_reg(dev_max30102, address, data);

	// // multi_led control registers
	// address = 0x11; 
	// data = 0x07; // x_001_x_010 (RED and IR LED)
	// write_byte(address, data);

	// address = 0x12;
	// data = 0x07; // x_000_x_000 (NO LED)
	// write_byte(address, data);

	// clear fifo
	d_i2c_write_to_reg(dev_max30102, MAX30102_FIFO_WR_PTR, 0x00);
	d_i2c_write_to_reg(dev_max30102, MAX30102_FIFO_O_CNTR, 0x00);
	d_i2c_write_to_reg(dev_max30102, MAX30102_FIFO_RD_PTR, 0x00);
}

/*
 * @brief Get the data from the pulse oximeter
 * @return The number of samples read
 * TODO: need to implement this better - it currently only reads one sample
 */
int max30102_check(const struct i2c_dt_spec *dev_max30102)
{
	bool ret;
    // uint8_t write_ptr, read_ptr, ovf_ctr;
	// bool ret = d_i2c_read_register(dev_max30102, MAX30102_FIFO_WR_PTR, &write_ptr);
	// ret &= d_i2c_read_register(dev_max30102, MAX30102_FIFO_RD_PTR, &read_ptr);
	// ret &= d_i2c_read_register(dev_max30102, MAX30102_FIFO_O_CNTR, &ovf_ctr);
	// if (ret == false) {
	// 	printk("Failed to read FIFO pointers\n");
	// 	return 0;
	// }
	// printk("Rdptr: %d, Wrptr: %d, Ocntr: %d\n", read_ptr, write_ptr, ovf_ctr);

	// int number_of_samples = 0;

	// if (read_ptr != write_ptr) {
	// 	// printk("Read pointer: %d, Write pointer: %d, Overflow counter: %d\n", read_ptr, write_ptr, ovf_ctr);
	// 	// int num_samples_to_read = (write_ptr - read_ptr) & 0x1F; // mask to get the lower 5 bits of the difference
	// 	number_of_samples = (write_ptr - read_ptr);
	// 	if (number_of_samples < 0) number_of_samples += 32;

	// 	// use i2c write and read as separate functions
	// 	// we will burst read data based on the number of samples we expect
	// 	// d_i2c_write(dev_max30102, MAX30102_FIFO_DATA, 1);

	// 	// while (number_of_samples > 0) {
	// 	// 	sensor_data.head_ptr++;
	// 	// 	sensor_data.head_ptr %= DATA_BUFFER_SIZE;

	// 	// 	uint8_t temp[sizeof(uint32_t)];
	// 	// 	uint32_t red, ir;

	// 	// 	// read red data
	// 	// 	d_i2c_read(dev_max30102, )

	// 	// }


	// // 	// know the number of samples we need to read
	// // 	int num_bytes_to_read = num_samples_to_read * 6; // 3 bytes for red and 3 bytes for ir for each sample

	// // 	// prepare to read data from the fifo buffer address many times


	// // 	uint8_t data[num_bytes_to_read];
	// // 	read_registers(&dev_i2c0, 0x07, data, num_bytes_to_read);

	// // 	for (int i = 0; i < num_bytes_to_read; i += 6) {
	// // 		sensor_data.head_ptr ++;
	// // 		sensor_data.head_ptr %= DATA_BUFFER_SIZE;
			
	// // 		sensor_data.red[sensor_data.head_ptr] = ((data[i] << 16) | (data[i + 1] << 8) | data[i + 2]) & 0x3FFFF;
	// // 		sensor_data.ir[sensor_data.head_ptr] = ((data[i + 3] << 16) | (data[i + 4] << 8) | data[i + 5]) & 0x3FFFF;
	// // 	}
	// // 	return num_samples_to_read;
	// }

	uint8_t data[6];
	ret = d_i2c_read_registers(dev_max30102, 0x07, data, 6);
	if (ret == true){
		sensor_data.head_ptr ++;
		sensor_data.head_ptr %= DATA_BUFFER_SIZE;	
		sensor_data.red[sensor_data.head_ptr] = ((data[0] << 16) | (data[1] << 8) | data[2]) & 0x3FFFF;
		sensor_data.ir[sensor_data.head_ptr] = ((data[3] << 16) | (data[4] << 8) | data[5]) & 0x3FFFF;
	}
	return 6;
}

int max30102_read_data_hr(const struct i2c_dt_spec *dev_max30102)
{
    const uint8_t RATE_SIZE = 4; //Increase this for more averaging. 4 is good.
	uint8_t rates[RATE_SIZE]; //Array of heart rates
	uint8_t rateSpot = 0;
	long lastBeat = 0; //Time at which the last beat occurred

	double beatsPerMinute = 0;
	double beatAvg = 0;

	while(true){
		if (max30102_check(dev_max30102) == 0){
			printk("No data\n");
		} else {
			long irVal = sensor_data.ir[sensor_data.head_ptr];

			if (checkForBeat(irVal) == true) {
    			//We sensed a beat!
    			long delta = k_uptime_get() - lastBeat;
    			lastBeat = k_uptime_get();
				printk("Delta: %ld\n", delta);
    			beatsPerMinute = 60 / (delta / 1000.0);
			
    			if (beatsPerMinute < 255 && beatsPerMinute > 20) {
    			  rates[rateSpot++] = (uint8_t)beatsPerMinute; //Store this reading in the array
    			  rateSpot %= RATE_SIZE; //Wrap variable
			
    			  //Take average of readings
    			  beatAvg = 0;
    			  for (uint8_t x = 0 ; x < RATE_SIZE ; x++)
    			    beatAvg += rates[x];
    			  beatAvg /= RATE_SIZE;
    			}
  			}

			printk(">Red:%d,IR:%d,BPM:%f,AvgBPM:%f\n", sensor_data.red[sensor_data.head_ptr], sensor_data.ir[sensor_data.head_ptr], beatsPerMinute, beatAvg);
		}
		k_sleep(K_MSEC(10));
	}
}

#define BUFFERLENGTH 100

int bufferLength = BUFFERLENGTH; //buffer length of 100 stores 4 seconds of samples running at 25sps
int spo2 = 0;
int heartRate = 0;
int8_t validSPO2 = 0; //indicator to show if the SPO2 calculation is valid
int8_t validHeartRate = 0; //indicator to show if the heart rate calculation is valid

uint32_t irBuffer[BUFFERLENGTH]; // infrared LED sensor data
uint32_t redBuffer[BUFFERLENGTH]; // red LED sensor data

int gpio_led_setup(const struct gpio_dt_spec *led0) {
	if(!gpio_is_ready_dt(led0)) printk("GPIO is not ready\n");
	int ret = gpio_pin_configure_dt(led0, GPIO_OUTPUT);
	if (ret < 0) {
		printk("Failed to configure LED0\n");
		return -1;
	}
	return 0;
}

int gpio_led_toggle(const struct gpio_dt_spec *led0) {
	int ret = gpio_pin_toggle_dt(led0);
	if (ret < 0) {
		printk("Failed to toggle LED0\n");
		return -1;
	}
	return 0;
}

int max30102_available(void)
{
	int numSamples = sensor_data.head_ptr - sensor_data.tail_ptr;
	if (numSamples < 0) numSamples += DATA_BUFFER_SIZE;
	return numSamples;
}

void max30102_next_sample(void)
{
	if(max30102_available() > 0){
		sensor_data.tail_ptr++;
		sensor_data.tail_ptr %= DATA_BUFFER_SIZE;
	}
}

int max30102_read_data_spo2(const struct i2c_dt_spec * dev_max30102, const struct gpio_dt_spec * led0)
{
	for(int i = 0; i < bufferLength; i++)
	{
		while(max30102_available() == 0) max30102_check(dev_max30102);

		redBuffer[i] = sensor_data.red[sensor_data.head_ptr];
		irBuffer[i] = sensor_data.ir[sensor_data.head_ptr];
		max30102_next_sample();

		printk(">red=%d, ir=%d\n", redBuffer[i], irBuffer[i]);
	}

	//calculate heart rate and SpO2 after first 100 samples (first 4 seconds of samples)
	maxim_heart_rate_and_oxygen_saturation(irBuffer, bufferLength, redBuffer, &spo2, &validSPO2, &heartRate, &validHeartRate);

	while(1)
	{
		for(int i = 25; i < bufferLength; i++)
		{
			redBuffer[i-25] = redBuffer[i];
			irBuffer[i-25] = irBuffer[i];
		}

		for(int i = 75; i < bufferLength; i++)
		{
			while(max30102_available() == 0) max30102_check(dev_max30102);

			gpio_led_toggle(led0);

			redBuffer[i] = sensor_data.red[sensor_data.head_ptr];
			irBuffer[i] = sensor_data.ir[sensor_data.head_ptr];
			max30102_next_sample();

			printk(">red:%d,ir:%d,HR:%d,HRvalid:%d,SPO2:%d,SPO2Valid:%d\n", redBuffer[i], irBuffer[i], heartRate, validHeartRate, spo2, validSPO2);
		}

		maxim_heart_rate_and_oxygen_saturation(irBuffer, bufferLength, redBuffer, &spo2, &validSPO2, &heartRate, &validHeartRate);
	}
}
```

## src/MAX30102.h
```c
/*
    * MAX30102.h
    *
    *  Created on: 2020. 12. 10.
    * 
    * This file was created to interface with the MAX30102 pulse oximeter sensor
    * It uses algorithms developed by Nathan Seidle of Sparkfun Electronics as 
    * adapted in i2c_de.
    * 
    * TODO: need to clean this up and add more functionality
*/

#ifndef MAX30102_H_
#define MAX30102_H_

#include <zephyr/kernel.h>
#include <zephyr/drivers/i2c.h>
#include <zephyr/drivers/gpio.h>

#define LED0_NODE DT_ALIAS(led0)
#define LED0_DT_SPEC GPIO_DT_SPEC_GET(LED0_NODE, gpios)

#define MAX30102_NODE DT_NODELABEL(max30102)
#define MAX30102_DT_SPEC I2C_DT_SPEC_GET(MAX30102_NODE)

#define DATA_BUFFER_SIZE 32
typedef struct buffer {
	    uint32_t red[DATA_BUFFER_SIZE];
	    uint32_t ir[DATA_BUFFER_SIZE];
	    uint8_t head_ptr;
	    uint8_t tail_ptr;
} sensor_struct;

typedef enum{
	HEART_RATE = 2,
	SPO2 = 3,
	MULTI_LED = 7
} MAX30102_mode_t;

void max30102_default_setup(const struct i2c_dt_spec *dev_max30102);
void max30102_pulse_oximeter_setup(const struct i2c_dt_spec *dev_max30102, uint8_t sample_avg, bool fifo_rollover, uint8_t fifo_int_threshold, MAX30102_mode_t mode, int sample_rate, int pulse_width, int adc_range);
int max30102_check(const struct i2c_dt_spec *dev_max30102);
int max30102_read_data_hr(const struct i2c_dt_spec *dev_max30102);
int max30102_read_data_spo2(const struct i2c_dt_spec *dev_max30102, const struct gpio_dt_spec *led0);

int gpio_led_setup(const struct gpio_dt_spec *led0);

#endif 
```

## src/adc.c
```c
// #include <zephyr/kernel.h>
// #include <zephyr/device.h>
// #include <zephyr/devicetree.h>
// #include <zephyr/drivers/adc.h>
// #include <stdio.h>  // Include stdio.h for printf

// #define ADC_REF_VOLTAGE_MV 600 // Internal reference in mV
// #define ADC_GAIN (1.0 / 6.0)    // Gain of 1/6
// #define ADC_RESOLUTION 4096     // 12-bit resolution
// /* ADC channel configuration via Device Tree */
// static const struct adc_dt_spec adc_channel = ADC_DT_SPEC_GET(DT_PATH(zephyr_user));

// /* ADC buffer and sequence configuration */
// static int16_t buf;
// static struct adc_sequence sequence = {
//     .buffer = &buf,
//     .buffer_size = sizeof(buf),
//     /* Optional calibration */
//     //.calibrate = true,
// };

// int32_t convert_to_mv(int16_t raw_value) {
//     return (int32_t)((raw_value * ADC_REF_VOLTAGE_MV * (1.0 / ADC_GAIN)) / ADC_RESOLUTION);
// }
// void main(void)
// {
//     /* Verify ADC readiness */
//     if (!adc_is_ready_dt(&adc_channel)) {
//         printf("ADC controller device %s not ready\n", adc_channel.dev->name);
//         return;
//     }

//     /* Configure ADC channel */
//     int err = adc_channel_setup_dt(&adc_channel);
//     if (err < 0) {
//         printf("Could not setup ADC channel (%d)\n", err);
//         return;
//     }

//     /* Initialize ADC sequence */
//     err = adc_sequence_init_dt(&adc_channel, &sequence);
//     if (err < 0) {
//         printf("Could not initialize ADC sequence (%d)\n", err);
//         return;
//     }

//     /* Continually read from the ADC */
//     while (1) {
//         err = adc_read(adc_channel.dev, &sequence);
//         if (err < 0) {
//             printf("ADC read failed (%d)\n", err);
//         } else {
//             int32_t val_mv = convert_to_mv(buf);
//             printf("Raw ADC value: %d\n", buf);
//             printf("ADC value: %d mV\n", val_mv);
//         }
//         /* Add a delay to avoid overwhelming the system (e.g., 1 second) */
//         k_sleep(K_MSEC(1000));  // Sleep for 1 second before reading again
//     }
// }
#include <zephyr/kernel.h>
#include <zephyr/device.h>
#include <zephyr/devicetree.h>
#include <zephyr/drivers/adc.h>
#include <stdio.h>

#define ADC_CHANNEL_COUNT 8

/* ADC channel configuration */
static const struct adc_dt_spec adc_channels[] = {
    ADC_DT_SPEC_GET_BY_IDX(DT_PATH(zephyr_user), 0),
    ADC_DT_SPEC_GET_BY_IDX(DT_PATH(zephyr_user), 1),
    ADC_DT_SPEC_GET_BY_IDX(DT_PATH(zephyr_user), 2),
    ADC_DT_SPEC_GET_BY_IDX(DT_PATH(zephyr_user), 3),
    ADC_DT_SPEC_GET_BY_IDX(DT_PATH(zephyr_user), 4),
    ADC_DT_SPEC_GET_BY_IDX(DT_PATH(zephyr_user), 5),
    ADC_DT_SPEC_GET_BY_IDX(DT_PATH(zephyr_user), 6),
    ADC_DT_SPEC_GET_BY_IDX(DT_PATH(zephyr_user), 7),
};

/* ADC buffer */
static int16_t buf[ADC_CHANNEL_COUNT];

void main(void) {
    struct adc_sequence sequence;
    for (int i = 0; i < ADC_CHANNEL_COUNT; i++) {
        const struct adc_dt_spec *adc_channel = &adc_channels[i];

        if (!adc_is_ready_dt(adc_channel)) {
            printf("ADC channel %d not ready\n", i);
            continue;
        }

        int err = adc_channel_setup_dt(adc_channel);
        if (err < 0) {
            printf("Failed to setup ADC channel %d (%d)\n", i, err);
            continue;
        }

        sequence.buffer = &buf[i];
        sequence.buffer_size = sizeof(buf[i]);
        err = adc_sequence_init_dt(adc_channel, &sequence);
        if (err < 0) {
            printf("Failed to initialize ADC sequence for channel %d (%d)\n", i, err);
            continue;
        }

        err = adc_read(adc_channel->dev, &sequence);
        if (err < 0) {
            printf("ADC read failed for channel %d (%d)\n", i, err);
            continue;
        }

        printf("Channel %d: Raw ADC value = %d\n", i, buf[i]);
    }
}
```

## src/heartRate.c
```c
#include <zephyr/kernel.h>
#include <zephyr/device.h>
#include <zephyr/devicetree.h>
#include <zephyr/drivers/adc.h>
#include <stdio.h>
#include <zephyr/sys/printk.h> // For printk

#define ADC_REF_VOLTAGE_MV 600   // Internal reference in mV
#define ADC_GAIN (1.0 / 6.0)     // Gain of 1/6
#define ADC_RESOLUTION 4096      // 12-bit resolution
#define THRESHOLD 2000           // Adjustable threshold for pulse detection
#define SAMPLE_INTERVAL_MS 10    // Sampling interval in milliseconds

static const struct adc_dt_spec adc_channel = ADC_DT_SPEC_GET(DT_PATH(zephyr_user));

static int16_t buf;
static struct adc_sequence sequence = {
    .buffer = &buf,
    .buffer_size = sizeof(buf),
};

int32_t convert_to_mv(int16_t raw_value) {
    return (int32_t)((raw_value * ADC_REF_VOLTAGE_MV * (1.0 / ADC_GAIN)) / ADC_RESOLUTION);
}

void main(void) {
    if (!adc_is_ready_dt(&adc_channel)) {
        printk("ADC controller device %s not ready\n", adc_channel.dev->name);
        return;
    }

    int err = adc_channel_setup_dt(&adc_channel);
    if (err < 0) {
        printk("Could not setup ADC channel (%d)\n", err);
        return;
    }

    err = adc_sequence_init_dt(&adc_channel, &sequence);
    if (err < 0) {
        printk("Could not initialize ADC sequence (%d)\n", err);
        return;
    }

    int32_t previous_val = 0;
    bool pulse_detected = false;
    uint32_t last_pulse_time = 0;
    uint32_t current_time = 0;
    uint32_t bpm = 0;

    while (1) {
        err = adc_read(adc_channel.dev, &sequence);
        if (err < 0) {
            printk("ADC read failed (%d)\n", err);
        } else {
            int32_t val_mv = convert_to_mv(buf);
            //printk("Raw ADC value: %d, ADC value: %d mV\n", buf, val_mv);

            current_time = k_uptime_get_32(); // Get system uptime in milliseconds

            // Detect rising edge
            if (val_mv > THRESHOLD && !pulse_detected && val_mv > previous_val) {
                pulse_detected = true;
                if (last_pulse_time > 0) {
                    uint32_t interval_ms = current_time - last_pulse_time;
                    bpm = 60000 / interval_ms; // Calculate BPM
                    printk("Pulse detected! BPM: %d\n", bpm);
                }
                last_pulse_time = current_time;
            }

            // Reset pulse detection when signal falls below the threshold
            if (val_mv < THRESHOLD) {
                pulse_detected = false;
            }

            previous_val = val_mv;
        }

        k_sleep(K_MSEC(SAMPLE_INTERVAL_MS)); // Sleep before the next reading
    }
}
```

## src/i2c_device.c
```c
/*
    * i2c_device.c
    *
    *  Created on: 2021. 4. 1.
    * 
    *  Description: A class to handle I2C communication with a device
    *  that is connected to the Zephyr board and exists in the device tree
    *  as a node. This class is a wrapper around the Zephyr I2C API.
    * 
    * TODO: generalize more
*/

#include "i2c_device.h"

bool d_i2c_is_ready(const struct i2c_dt_spec *i2c_dev) {
    if (!i2c_is_ready_dt(i2c_dev)){
        printk("I2C bus is not ready\n");
        return false;
    } else {
        return true;
    }
}

bool d_i2c_write_to_reg(const struct i2c_dt_spec *i2c_dev, uint8_t address, uint8_t data)
{
	int ret;
	ret = i2c_reg_write_byte_dt(i2c_dev, address, data);
	if (ret < 0) {
		printk("Failed to write byte %x to register %x\n", data, address);
		return false;
	} else {
		if(REPORT_SUCCESS) printk("Wrote byte %2x to register %2x\n", data, address);
		return true;
	}
}

bool d_i2c_read_register(const struct i2c_dt_spec *i2c_dev, uint8_t reg_addr, uint8_t *data) {
    int ret = i2c_write_read_dt(i2c_dev, &reg_addr, 1, data, 1);
    if (ret < 0) {
        printk("Failed to read register %x\n", reg_addr);
        return false;
    } else {
        if(REPORT_SUCCESS) printk("Read register %x\n", reg_addr);
        return true;
    }
}

bool d_i2c_read_registers(const struct i2c_dt_spec *i2c_dev, uint8_t reg_addr, uint8_t *data, size_t len) {
    int ret = i2c_write_read_dt(i2c_dev, &reg_addr, 1, data, len);
    if (ret < 0) { 
        printk("Failed to read %d registers starting from %x\n", len, reg_addr);
        return false;
    } else {
        if(REPORT_SUCCESS) printk("Read %d registers starting from %x\n", len, reg_addr);
        return true;
    }
}

bool d_i2c_read(const struct i2c_dt_spec *i2c_dev, uint8_t *data, size_t len) {
    int ret = i2c_read_dt(i2c_dev, data, len);
    if (ret < 0) {
        printk("Failed to read %d bytes\n", len);
        return false;
    } else {
        if(REPORT_SUCCESS) printk("Read %d bytes\n", len);
        return true;
    }
}

bool d_i2c_write(const struct i2c_dt_spec *i2c_dev, const uint8_t *data, size_t len) {
    int ret = i2c_write_dt(i2c_dev, data, len);
    if (ret < 0) {
        printk("Failed to write %d bytes\n", len);
        return false;
    } else {
        if(REPORT_SUCCESS) printk("Wrote %d bytes\n", len);
        return true;
    }
}
    
```
